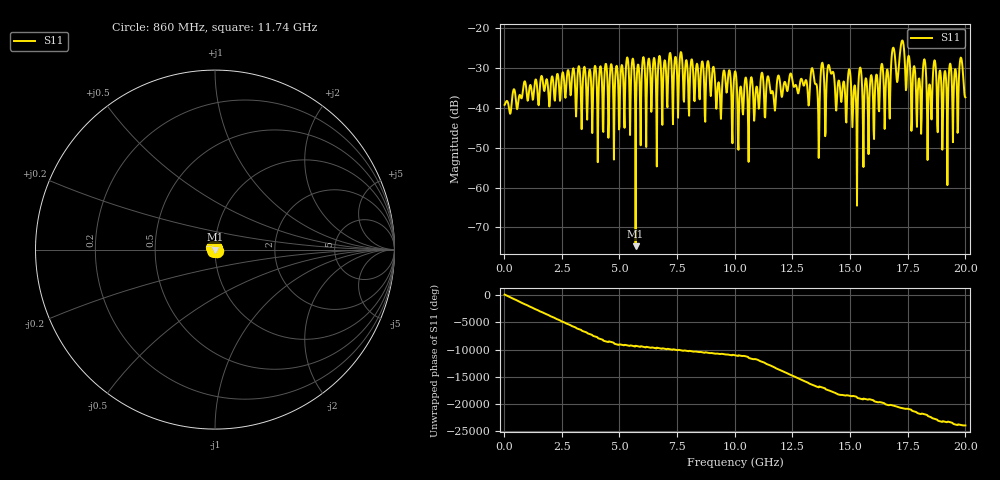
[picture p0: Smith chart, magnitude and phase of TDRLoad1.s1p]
! File created by SignalIntegrity v1.3.3: Signal and Power Integrity Tools
! https://github.com/TeledyneLeCroy/SignalIntegrity
# MHz S MA R 50.0
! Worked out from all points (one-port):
!   1000 points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, 20 MHz to 20 GHz, reference 50 ohm
!   lowest |S11| = -74.7 dB at 5.7 GHz (marker M1), VSWR 1.00, Z = 50 + j0.0178 ohm
!   |S11| at or under -10 dB: start of sweep to end of sweep
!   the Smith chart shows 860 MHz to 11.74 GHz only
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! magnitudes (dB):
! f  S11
! 20 MHz  -39.3
! 2.52 GHz  -31.4
! 5.02 GHz  -37.0
! 5.34 GHz  -27.4
! 5.7 GHz  -74.7
! 6.04 GHz  -27.3
! 7.52 GHz  -36.4
! 10.02 GHz  -30.9
! 10.24 GHz  -34.8
! 12.52 GHz  -33.8
! 13.38 GHz  -30.3
! 13.6 GHz  -37.7
! 13.78 GHz  -28.8
! 14.12 GHz  -30.1
! 15.02 GHz  -32.2
! 15.2 GHz  -34.4
! 15.44 GHz  -29.9
! 15.64 GHz  -34.5
! 16.6 GHz  -30.5
! 17.26 GHz  -23.1
! 17.52 GHz  -27.2
! 18 GHz  -32.7
! 18.22 GHz  -27.8
! 18.44 GHz  -34.1
! 18.66 GHz  -28.1
! 19.12 GHz  -30.8
! 19.82 GHz  -27.5
! 20 GHz  -37.4
